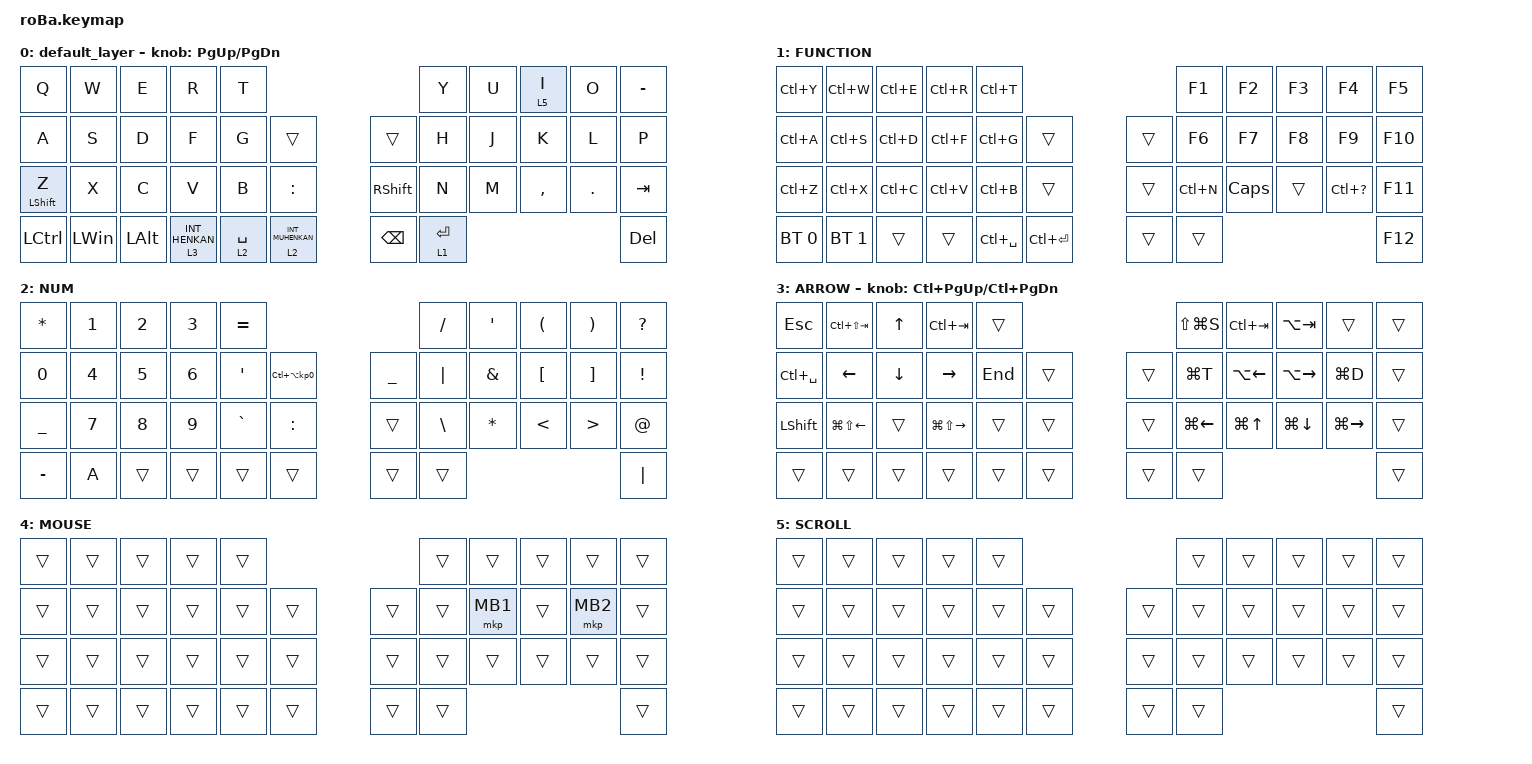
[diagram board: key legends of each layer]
#include <dt-bindings/zmk/mouse.h>
#include <behaviors.dtsi>
#include <dt-bindings/zmk/bt.h>
#include <dt-bindings/zmk/keys.h>
#include <dt-bindings/zmk/pointing.h>

#define MOUSE 4
#define SCROLL 5
#define NUM 6

&mt {
    flavor = "balanced";
    quick-tap-ms = <0>;
};

/ {
    combos {
        compatible = "zmk,combos";

        tab {
            bindings = <&kp TAB>;
            key-positions = <11 12>;
        };

        shift_tab {
            bindings = <&kp LS(TAB)>;
            key-positions = <12 13>;
        };

        muhennkann {
            bindings = <&to_layer_0 INT_MUHENKAN>;
            key-positions = <11 10>;
        };

        double_quotation {
            bindings = <&kp DOUBLE_QUOTES>;
            key-positions = <20 21>;
        };

        eq {
            bindings = <&kp EQUAL>;
            key-positions = <24 25>;
        };
    };

    macros {
        to_layer_0: to_layer_0 {
            compatible = "zmk,behavior-macro-one-param";
            #binding-cells = <1>;
            bindings = <&to 0 &macro_param_1to1 &kp MACRO_PLACEHOLDER>;
            label = "TO_LAYER_0";
        };
    };

    behaviors {
        lt_to_layer_0: lt_to_layer_0 {
            compatible = "zmk,behavior-hold-tap";
            label = "LAYER_TAP_TO_0";
            bindings = <&mo>, <&to_layer_0>;

            #binding-cells = <2>;
            tapping-term-ms = <200>;
        };
    };

    keymap {
        compatible = "zmk,keymap";

        default_layer {
            bindings = <
&kp Q             &kp W         &kp E         &kp R                        &kp T                                                          &kp Y        &kp U  &lt 5 I    &kp O    &kp MINUS
&kp A             &kp S         &kp D         &kp F                        &kp G        &trans                           &trans           &kp H        &kp J  &kp K      &kp L    &kp P
&mt LEFT_SHIFT Z  &kp X         &kp C         &kp V                        &kp B        &kp COLON                        &kp RIGHT_SHIFT  &kp N        &kp M  &kp COMMA  &kp DOT  &kp TAB
&kp LCTRL         &kp LEFT_WIN  &kp LEFT_ALT  &lt_to_layer_0 3 INT_HENKAN  &lt 2 SPACE  &lt_to_layer_0 2 INT_MUHENKAN    &kp BACKSPACE    &lt 1 ENTER                             &kp DEL
            >;

            sensor-bindings = <&inc_dec_kp PG_UP PAGE_DOWN>;
        };

        FUNCTION {
            bindings = <
&kp LC(Y)     &kp LC(W)     &kp LC(E)  &kp LC(R)  &kp LC(T)                               &kp F1     &kp F2    &kp F3  &kp F4            &kp F5
&kp LC(A)     &kp LC(S)     &kp LC(D)  &kp LC(F)  &kp LC(G)      &trans           &trans  &kp F6     &kp F7    &kp F8  &kp F9            &kp F10
&kp LC(Z)     &kp LC(X)     &kp LC(C)  &kp LC(V)  &kp LC(B)      &trans           &trans  &kp LC(N)  &kp CLCK  &trans  &kp LC(QUESTION)  &kp F11
&bt BT_SEL 0  &bt BT_SEL 1  &trans     &trans     &kp LC(SPACE)  &kp LC(ENTER)    &trans  &trans                                         &kp F12
            >;
        };

        NUM {
            bindings = <
&kp ASTRK  &kp NUMBER_1  &kp NUMBER_2  &kp NUMBER_3  &kp EQUAL                                                    &kp SLASH      &kp APOS       &kp LEFT_PARENTHESIS  &kp RIGHT_PARENTHESIS  &kp QUESTION
&kp N0     &kp NUMBER_4  &kp NUMBER_5  &kp NUMBER_6  &kp SINGLE_QUOTE  &kp LC(LA(KP_NUMBER_0))    &kp UNDERSCORE  &kp PIPE       &kp AMPERSAND  &kp LEFT_BRACKET      &kp RIGHT_BRACKET      &kp EXCLAMATION
&kp UNDER  &kp NUMBER_7  &kp NUMBER_8  &kp NUMBER_9  &kp GRAVE         &kp COLON                  &trans          &kp BACKSLASH  &kp ASTRK      &kp LESS_THAN         &kp GREATER_THAN       &kp AT_SIGN
&kp MINUS  &kp A         &trans        &trans        &trans            &trans                     &trans          &trans                                                                     &kp PIPE
            >;
        };

        ARROW {
            bindings = <
&kp ESCAPE      &kp LC(LS(TAB))         &kp UP_ARROW    &kp LC(TAB)              &trans                     &kp LS(LG(S))  &kp LC(TAB)         &kp LA(TAB)          &trans               &trans
&kp LC(SPACE)   &kp LEFT_ARROW          &kp DOWN_ARROW  &kp RIGHT_ARROW          &kp END  &trans    &trans  &kp LG(T)      &kp LA(LEFT_ARROW)  &kp LA(RIGHT_ARROW)  &kp LG(D)            &trans
&kp LEFT_SHIFT  &kp LG(LS(LEFT_ARROW))  &trans          &kp LG(LS(RIGHT_ARROW))  &trans   &trans    &trans  &kp LG(LEFT)   &kp LG(UP_ARROW)    &kp LG(DOWN_ARROW)   &kp LG(RIGHT_ARROW)  &trans
&trans          &trans                  &trans          &trans                   &trans   &trans    &trans  &trans                                                                       &trans
            >;

            sensor-bindings = <&inc_dec_kp LC(PAGE_UP) LC(PAGE_DOWN)>;
        };

        MOUSE {
            bindings = <
&trans  &trans  &trans  &trans  &trans                    &trans  &trans    &trans  &trans    &trans
&trans  &trans  &trans  &trans  &trans  &trans    &trans  &trans  &mkp MB1  &trans  &mkp MB2  &trans
&trans  &trans  &trans  &trans  &trans  &trans    &trans  &trans  &trans    &trans  &trans    &trans
&trans  &trans  &trans  &trans  &trans  &trans    &trans  &trans                              &trans
            >;
        };

        SCROLL {
            bindings = <
&trans  &trans  &trans  &trans  &trans                    &trans  &trans  &trans  &trans  &trans
&trans  &trans  &trans  &trans  &trans  &trans    &trans  &trans  &trans  &trans  &trans  &trans
&trans  &trans  &trans  &trans  &trans  &trans    &trans  &trans  &trans  &trans  &trans  &trans
&trans  &trans  &trans  &trans  &trans  &trans    &trans  &trans                          &trans
            >;
        };
    };
};
